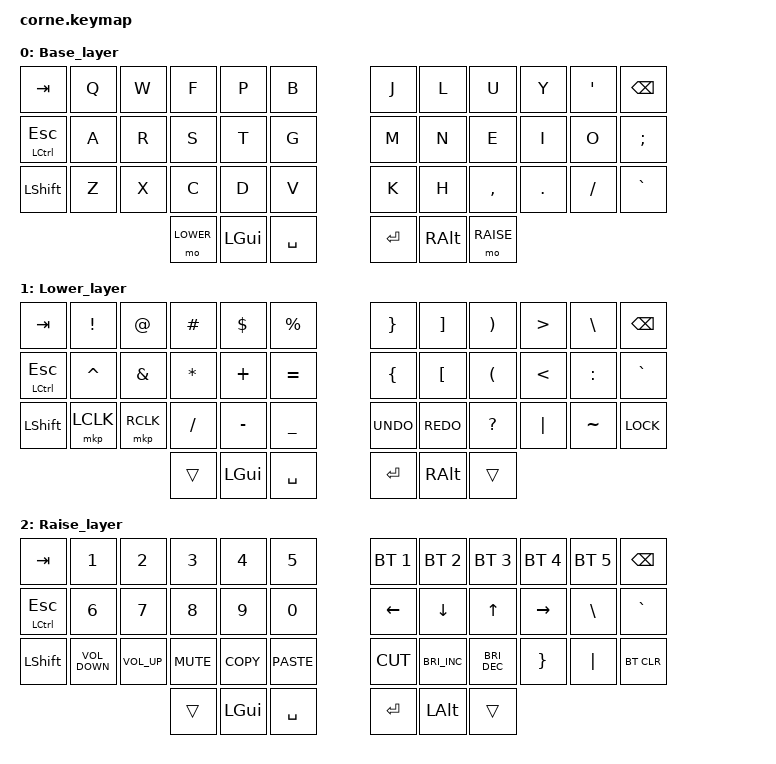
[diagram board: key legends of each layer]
#include <behaviors.dtsi>
#include <dt-bindings/zmk/bt.h>
#include <dt-bindings/zmk/keys.h>
#include <dt-bindings/zmk/mouse.h>

#define BASE 0
#define LOWER 1
#define RAISE 2

/ {
    macros {
        arrow: new_macro {
            compatible = "zmk,behavior-macro";
            #binding-cells = <0>;
            bindings = <&kp EQUAL &kp GT>;
            label = "NEW_MACRO";
        };
    };

    keymap {
        compatible = "zmk,keymap";
        Base_layer {
            bindings = <
&kp TAB           &kp Q  &kp W  &kp F      &kp P         &kp B        &kp J       &kp L          &kp U      &kp Y       &kp SINGLE_QUOTE  &kp BACKSPACE
&mt LCTRL ESCAPE  &kp A  &kp R  &kp S      &kp T         &kp G        &kp M       &kp N          &kp E      &kp I       &kp O             &kp SEMICOLON
&kp LEFT_SHIFT    &kp Z  &kp X  &kp C      &kp D         &kp V        &kp K       &kp H          &kp COMMA  &kp PERIOD  &kp SLASH         &kp GRAVE
                                &mo LOWER  &kp LEFT_GUI  &kp SPACE    &kp RETURN  &kp RIGHT_ALT  &mo RAISE
            >;
        };

        Lower_layer {
            bindings = <
&kp TAB           &kp EXCLAMATION  &kp AT_SIGN    &kp HASH      &kp DOLLAR    &kp PERCENT       &kp RIGHT_BRACE  &kp RIGHT_BRACKET  &kp RIGHT_PARENTHESIS  &kp GT    &kp BACKSLASH  &kp BACKSPACE
&mt LCTRL ESCAPE  &kp CARET        &kp AMPERSAND  &kp ASTERISK  &kp PLUS      &kp EQUAL         &kp LEFT_BRACE   &kp LEFT_BRACKET   &kp LEFT_PARENTHESIS   &kp LT    &kp COLON      &kp GRAVE
&kp LEFT_SHIFT    &mkp LCLK        &mkp RCLK      &kp SLASH     &kp MINUS     &kp UNDERSCORE    &kp K_UNDO       &kp K_REDO         &kp QUESTION           &kp PIPE  &kp TILDE      &kp K_LOCK
                                                  &trans        &kp LEFT_GUI  &kp SPACE         &kp RETURN       &kp RIGHT_ALT      &trans
            >;
        };

        Raise_layer {
            bindings = <
&kp TAB           &kp NUMBER_1       &kp NUMBER_2     &kp NUMBER_3  &kp NUMBER_4  &kp NUMBER_5    &bt BT_SEL 1  &bt BT_SEL 2          &bt BT_SEL 3          &bt BT_SEL 4     &bt BT_SEL 5   &kp BACKSPACE
&mt LCTRL ESCAPE  &kp NUMBER_6       &kp NUMBER_7     &kp NUMBER_8  &kp NUMBER_9  &kp NUMBER_0    &kp LEFT      &kp DOWN              &kp UP                &kp RIGHT        &kp BACKSLASH  &kp GRAVE
&kp LEFT_SHIFT    &kp C_VOLUME_DOWN  &kp C_VOLUME_UP  &kp K_MUTE    &kp K_COPY    &kp K_PASTE     &kp K_CUT     &kp C_BRIGHTNESS_INC  &kp C_BRIGHTNESS_DEC  &kp RIGHT_BRACE  &kp PIPE       &bt BT_CLR
                                                      &trans        &kp LEFT_GUI  &kp SPACE       &kp RETURN    &kp LEFT_ALT          &trans
            >;
        };
    };
};
